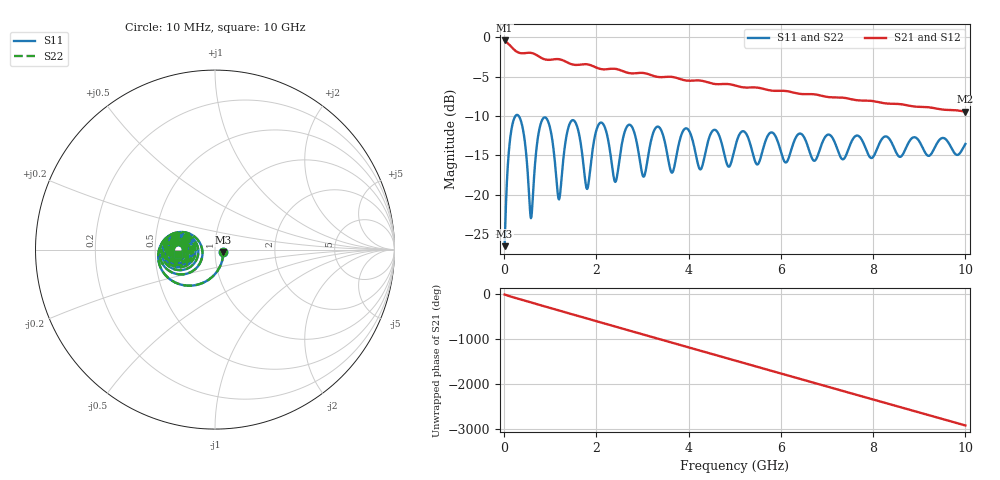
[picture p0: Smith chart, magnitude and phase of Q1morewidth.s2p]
! Touchstone generated by fitter/viewer
# HZ S  RI R 5.000000e+001
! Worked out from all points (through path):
!   1000 points, 10 MHz to 10 GHz, reference 50 ohm
!   highest |S21| = -0.42 dB at 10 MHz (marker M1); lowest = -9.5 dB at 10 GHz (marker M2)
!   group delay of S21, straight-line fit = 811 ps
!   lowest |S11| = -26.5 dB at 10 MHz (marker M3), VSWR 1.10, Z = 54.6 - j1.76 ohm
!   |S11| at or under -10 dB: start of sweep to 246.1 MHz; 314.3 MHz to end of sweep
!   |S22| runs from -26.5 to -9.9 dB; largest |S21 - S12| = 0
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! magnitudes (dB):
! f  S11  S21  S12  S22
! 10 MHz  -26.5  -0.4  -0.4  -26.5
! 120 MHz  -13.4  -1.0  -1.0  -13.4
! 260 MHz  -9.9  -1.8  -1.8  -9.9
! 580 MHz  -23.0  -2.0  -2.0  -23.0
! 850 MHz  -10.3  -2.8  -2.8  -10.3
! 1.18 GHz  -20.5  -2.8  -2.8  -20.5
! 1.44 GHz  -10.8  -3.4  -3.4  -10.8
! 1.68 GHz  -14.3  -3.5  -3.5  -14.3
! 1.81 GHz  -19.2  -3.5  -3.5  -19.2
! 2.13 GHz  -10.9  -4.1  -4.1  -10.9
! 2.41 GHz  -18.4  -4.0  -4.0  -18.4
! 2.73 GHz  -11.1  -4.6  -4.6  -11.1
! 3.03 GHz  -17.7  -4.6  -4.6  -17.7
! 3.34 GHz  -11.4  -5.1  -5.1  -11.4
! 3.64 GHz  -17.2  -5.0  -5.0  -17.2
! 3.93 GHz  -11.6  -5.5  -5.5  -11.6
! 4.25 GHz  -16.8  -5.5  -5.5  -16.8
! 4.54 GHz  -11.8  -5.9  -5.9  -11.8
! 5.01 GHz  -13.9  -6.1  -6.1  -13.9
! 6.67 GHz  -15.3  -7.2  -7.2  -15.3
! 8.34 GHz  -12.8  -8.4  -8.4  -12.8
! 10 GHz  -13.6  -9.5  -9.5  -13.6
